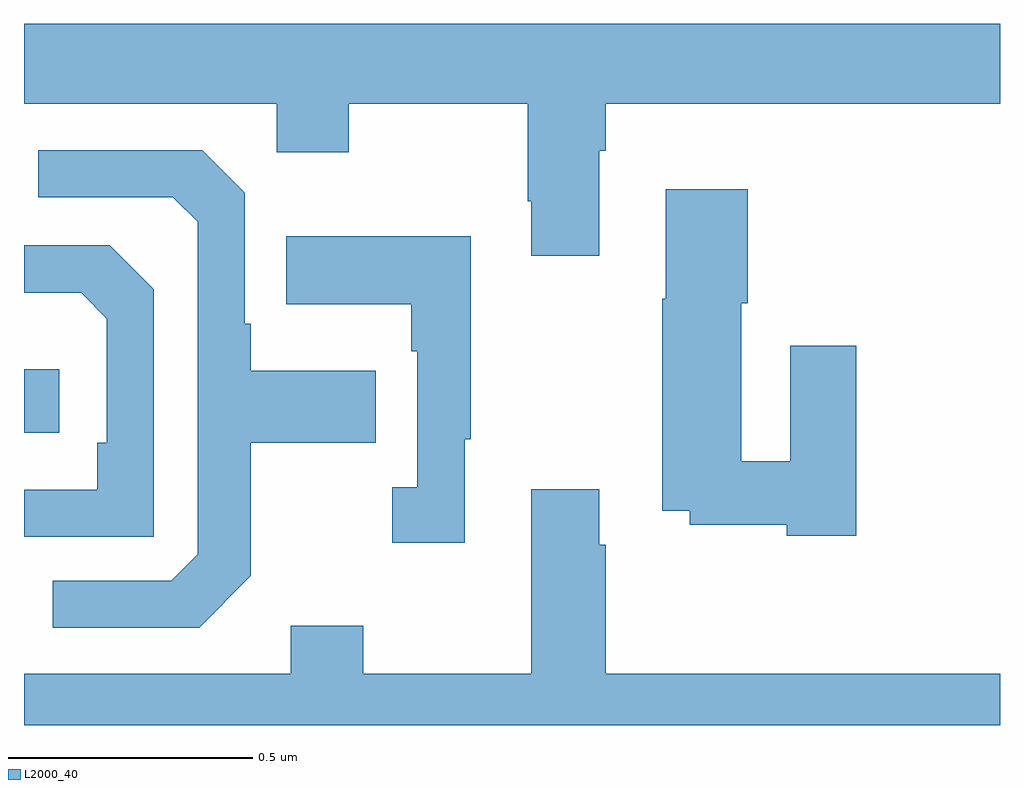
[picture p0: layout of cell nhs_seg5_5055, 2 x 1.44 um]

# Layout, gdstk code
import gdstk
lib = gdstk.Library(unit=1e-6, precision=1e-09)
def R(c, l, rs):  # rectangles x0, y0, x1, y1
    for r in rs: c.add(gdstk.rectangle(r[:2], r[2:], *l))
def P(c, l, *ps):  # polygons
    for p in ps: c.add(gdstk.Polygon(p, *l))
L2000_40 = (2000, 40)

nhs_seg5_5055 = lib.new_cell('nhs_seg5_5055')
R(nhs_seg5_5055, L2000_40, [(178,877.398,178.072,877.528)])
P(nhs_seg5_5055, L2000_40, [(179.179,877.976),(179.192,877.976),(179.192,878.072),(180,878.072),(180,878.236),(178,878.236),(178,878.072),(178.518,878.072),(178.518,877.973),(178.665,877.973),(178.665,878.072),(179.032,878.072),(179.032,877.873),(179.039,877.873),(179.039,877.761),(179.179,877.761)],
  [(178.465,877.105),(178.465,877.378),(178.721,877.378),(178.721,877.525),(178.465,877.525),(178.465,877.621),(178.452,877.621),(178.452,877.89),(178.365,877.977),(178.029,877.977),(178.029,877.881),(178.305,877.881),(178.356,877.83),(178.356,877.149),(178.302,877.095),(178.059,877.095),(178.059,876.999),(178.359,876.999)],
  [(179.705,877.576),(179.57,877.576),(179.57,877.34),(179.47,877.34),(179.47,877.663),(179.483,877.663),(179.483,877.897),(179.315,877.897),(179.315,877.673),(179.308,877.673),(179.308,877.238),(179.364,877.238),(179.364,877.21),(179.563,877.21),(179.563,877.187),(179.705,877.187)],
  [(178.903,877.385),(178.915,877.385),(178.915,877.801),(178.537,877.801),(178.537,877.661),(178.794,877.661),(178.794,877.565),(178.806,877.565),(178.806,877.286),(178.755,877.286),(178.755,877.173),(178.903,877.173)],
  [(178.266,877.692),(178.176,877.782),(178,877.782),(178,877.685),(178.117,877.685),(178.17,877.632),(178.17,877.378),(178.15,877.378),(178.15,877.281),(178,877.281),(178,877.185),(178.266,877.185)],
  [(180,876.904),(179.192,876.904),(179.192,877.169),(179.179,877.169),(179.179,877.282),(179.039,877.282),(179.039,876.904),(178.695,876.904),(178.695,877.003),(178.547,877.003),(178.547,876.904),(178,876.904),(178,876.799),(180,876.799)])

lib.write_gds('nhs_seg5_5055.gds')
